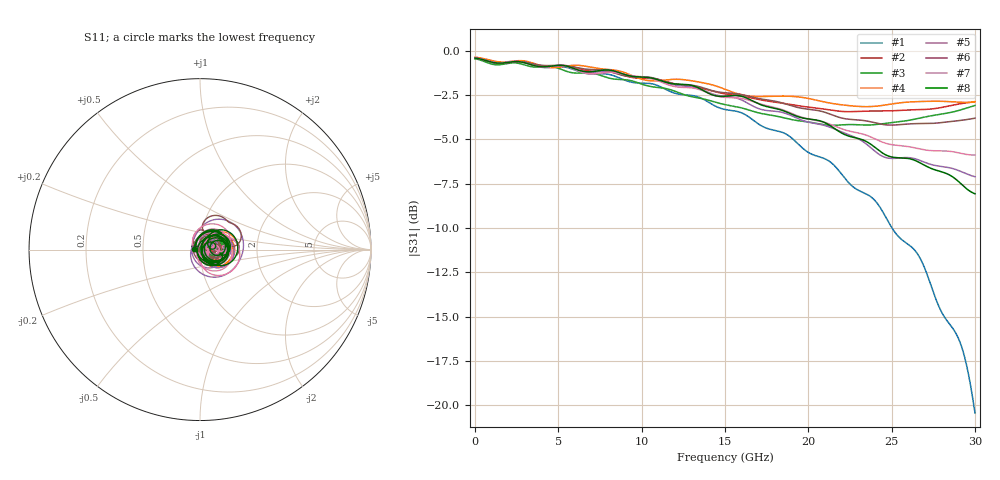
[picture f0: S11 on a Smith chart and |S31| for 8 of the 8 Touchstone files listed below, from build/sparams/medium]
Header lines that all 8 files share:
!ports 1 P_near 2 N_near 3 P_far 4 N_far; openEMS FDTD, lumped 50 ohm ports
# Hz S RI R 50.0
! Port[1] = P_near
! Port[2] = N_near
! Port[3] = P_far
! Port[4] = N_far
!freq ReS11 ImS11 ReS12 ImS12 ReS13 ImS13
! ReS14 ImS14
! ReS21 ImS21 ReS22 ImS22 ReS23 ImS23
! ReS24 ImS24
! ReS31 ImS31 ReS32 ImS32 ReS33 ImS33
! ReS34 ImS34
! ReS41 ImS41 ReS42 ImS42 ReS43 ImS43
! ReS44 ImS44
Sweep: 10 MHz to 30 GHz
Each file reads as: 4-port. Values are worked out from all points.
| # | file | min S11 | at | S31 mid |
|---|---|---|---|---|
| 1 | A.s4p | -37.9 dB | 2.75 GHz | -3.3 dB at 15.01 GHz |
| 2 | B.s4p | -38.3 dB | 5.58 GHz | -2.4 dB at 15.01 GHz |
| 3 | B_R3.s4p | -37.2 dB | 4.69 GHz | -3.0 dB at 15.01 GHz |
| 4 | B_R075.s4p | -38.9 dB | 6.44 GHz | -2.2 dB at 15.01 GHz |
| 5 | C.s4p | -44.8 dB | 2.67 GHz | -2.6 dB at 15.01 GHz |
| 6 | C_far.s4p | -45.4 dB | 8.07 GHz | -2.4 dB at 15.01 GHz |
| 7 | D.s4p | -37.1 dB | 29.29 GHz | -2.6 dB at 15.01 GHz |
| 8 | F.s4p | -45.8 dB | 8.14 GHz | -2.6 dB at 15.01 GHz |
